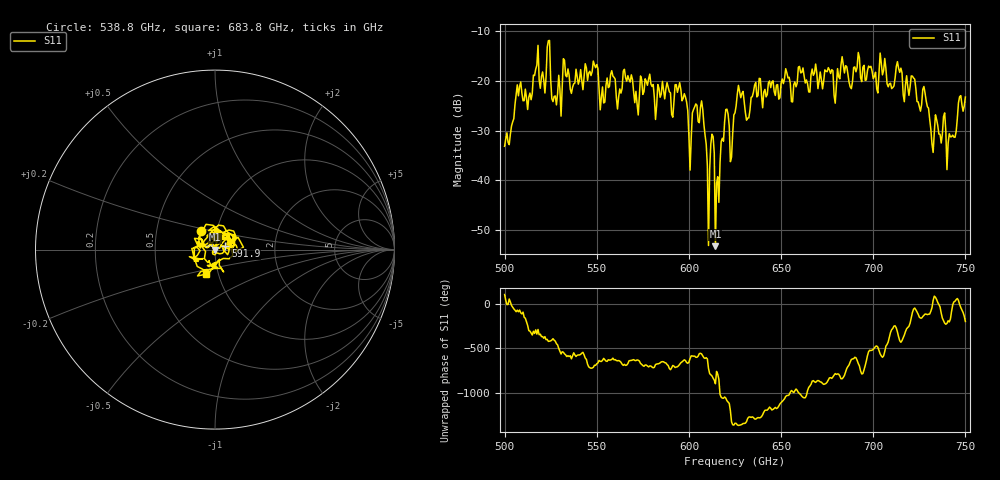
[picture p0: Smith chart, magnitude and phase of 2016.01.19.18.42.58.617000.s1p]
!Created with skrf (http://scikit-rf.org).
# GHz S RI R 50.0
!freq ReS11 ImS11
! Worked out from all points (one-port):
!   401 points, 500 GHz to 750 GHz, reference 50 ohm
!   lowest |S11| = -53.3 dB at 614.4 GHz (marker M1), VSWR 1.00, Z = 49.8 - j0.0016 ohm
!   |S11| at or under -10 dB: start of sweep to end of sweep
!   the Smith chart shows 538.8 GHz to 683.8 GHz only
!   S11 on the Smith chart (normalised r, x): 538.8 GHz: 0.84, +0.18; 591.9 GHz: 1.12, +0.04; 683.8 GHz: 0.88, -0.24
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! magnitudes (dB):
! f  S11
! 500 GHz  -33.2
! 516.9 GHz  -17.6
! 520.6 GHz  -18.2
! 523.8 GHz  -11.9
! 526.9 GHz  -23.1
! 531.2 GHz  -21.3
! 538.8 GHz  -17.6
! 549.4 GHz  -17.3
! 553.1 GHz  -21.2
! 558.8 GHz  -19.0
! 562.5 GHz  -21.6
! 591.9 GHz  -24.2
! 593.8 GHz  -22.3
! 600.6 GHz  -38.0
! 607.5 GHz  -25.7
! 610 GHz  -37.0
! 612.5 GHz  -30.7
! 614.4 GHz  -53.3
! 615.6 GHz  -39.3
! 620 GHz  -25.7
! 623.1 GHz  -35.3
! 625 GHz  -26.4
! 656.2 GHz  -24.2
! 683.8 GHz  -16.8
! 687.5 GHz  -21.2
! 718.8 GHz  -21.3
! 741.2 GHz  -30.6
! 750 GHz  -23.2
